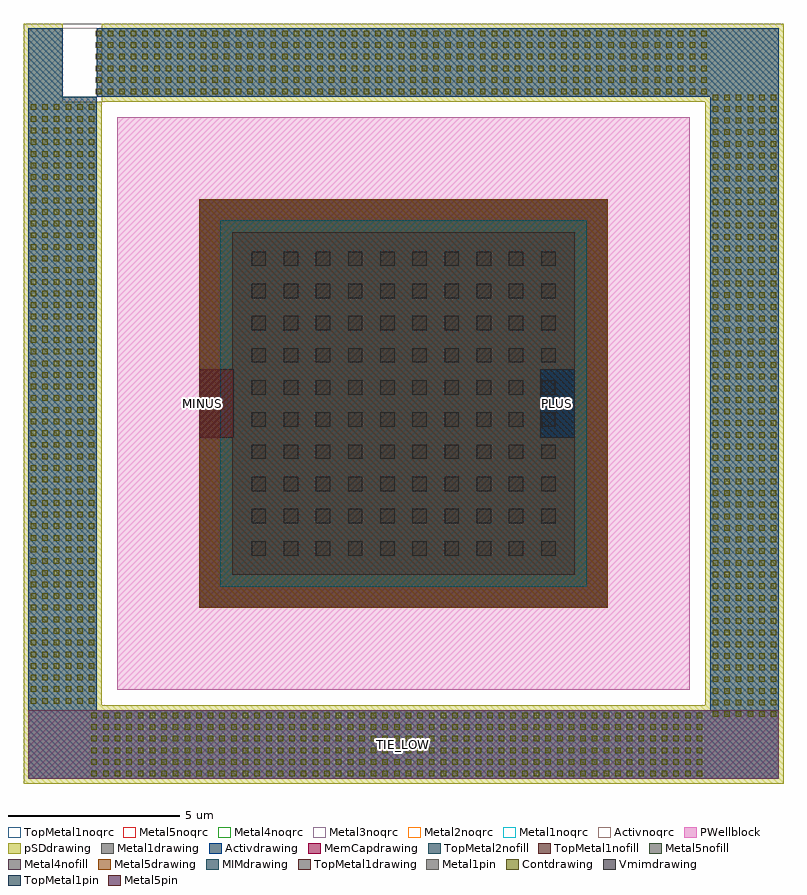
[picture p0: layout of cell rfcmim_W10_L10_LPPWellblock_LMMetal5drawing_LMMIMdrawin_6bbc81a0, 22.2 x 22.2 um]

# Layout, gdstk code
from math import pi, radians
import gdstk
lib = gdstk.Library(unit=1e-6, precision=1e-09)
def R(c, l, rs):  # rectangles x0, y0, x1, y1
    for r in rs: c.add(gdstk.rectangle(r[:2], r[2:], *l))
def P(c, l, *ps):  # polygons
    for p in ps: c.add(gdstk.Polygon(p, *l))
Activdrawing = (1, 0)
Activnoqrc = (1, 28)
Contdrawing = (6, 0)
Metal1drawing = (8, 0)
Metal1pin = (8, 2)
Metal1noqrc = (8, 28)
Metal2noqrc = (10, 28)
pSDdrawing = (14, 0)
Metal3noqrc = (30, 28)
MIMdrawing = (36, 0)
PWellblock = (46, 21)
Metal4nofill = (50, 23)
Metal4noqrc = (50, 28)
Metal5drawing = (67, 0)
Metal5pin = (67, 2)
Metal5nofill = (67, 23)
Metal5noqrc = (67, 28)
MemCapdrawing = (69, 0)
TopMetal1drawing = (126, 0)
TopMetal1pin = (126, 2)
TopMetal1nofill = (126, 23)
TopMetal1noqrc = (126, 28)
Vmimdrawing = (129, 0)
TopMetal2nofill = (134, 23)

rectangle_gdsfactorypcom = lib.new_cell('rectangle_gdsfactorypcomponentspshapesprectangle_S21p91_7ff23215')
R(rectangle_gdsfactorypcom, Metal1pin, [(-10.96,-1,10.96,1)])

c_rectangle_gdsfactorypcom = lib.new_cell('rectangle_gdsfactorypcomponentspshapesprectangle_S22p2__de31a85f')
R(c_rectangle_gdsfactorypcom, TopMetal1noqrc, [(-11.1,-11.1,11.1,11.1)])

c_rectangle_gdsfactorypcom_ = lib.new_cell('rectangle_gdsfactorypcomponentspshapesprectangle_S22p2__a230f30a')
R(c_rectangle_gdsfactorypcom_, Metal5noqrc, [(-11.1,-11.1,11.1,11.1)])

c_rectangle_gdsfactorypcom__ = lib.new_cell('rectangle_gdsfactorypcomponentspshapesprectangle_S22p2__22833e57')
R(c_rectangle_gdsfactorypcom__, Metal4noqrc, [(-11.1,-11.1,11.1,11.1)])

c_rectangle_gdsfactorypcom___ = lib.new_cell('rectangle_gdsfactorypcomponentspshapesprectangle_S22p2__882c3cef')
R(c_rectangle_gdsfactorypcom___, Metal3noqrc, [(-11.1,-11.1,11.1,11.1)])

c_rectangle_gdsfactorypcom____ = lib.new_cell('rectangle_gdsfactorypcomponentspshapesprectangle_S22p2__4a0da761')
R(c_rectangle_gdsfactorypcom____, Metal2noqrc, [(-11.1,-11.1,11.1,11.1)])

c_rectangle_gdsfactorypcom_____ = lib.new_cell('rectangle_gdsfactorypcomponentspshapesprectangle_S22p2__9c41a0f0')
R(c_rectangle_gdsfactorypcom_____, Metal1noqrc, [(-11.1,-11.1,11.1,11.1)])

c_rectangle_gdsfactorypcom______ = lib.new_cell('rectangle_gdsfactorypcomponentspshapesprectangle_S22p2__efff99eb')
R(c_rectangle_gdsfactorypcom______, Activnoqrc, [(-11.1,-11.1,11.1,11.1)])

c_rectangle_gdsfactorypcom_______ = lib.new_cell('rectangle_gdsfactorypcomponentspshapesprectangle_S0p16__bf15bdcd')
R(c_rectangle_gdsfactorypcom_______, Contdrawing, [(0,0,0.16,0.16)])

via_array_vtcont_c1_r6_v = lib.new_cell('via_array_VTCont_C1_R6_VS0p16_VS0p33999999999999997_VE0_973e9d7a')
via_array_vtcont_c1_r6_v.add(gdstk.Reference(c_rectangle_gdsfactorypcom_______, (0,0)))
via_array_vtcont_c1_r6_v.add(gdstk.Reference(c_rectangle_gdsfactorypcom_______, (0,0.34)))
via_array_vtcont_c1_r6_v.add(gdstk.Reference(c_rectangle_gdsfactorypcom_______, (0,0.68)))
via_array_vtcont_c1_r6_v.add(gdstk.Reference(c_rectangle_gdsfactorypcom_______, (0,1.02)))
via_array_vtcont_c1_r6_v.add(gdstk.Reference(c_rectangle_gdsfactorypcom_______, (0,1.36)))
via_array_vtcont_c1_r6_v.add(gdstk.Reference(c_rectangle_gdsfactorypcom_______, (0,1.7)))

unnamed_34 = lib.new_cell('Unnamed_34')
unnamed_34.add(gdstk.Reference(via_array_vtcont_c1_r6_v, (-8.955,-9.03), rotation=pi))
unnamed_34.add(gdstk.Reference(via_array_vtcont_c1_r6_v, (-8.615,-9.03), rotation=pi))
unnamed_34.add(gdstk.Reference(via_array_vtcont_c1_r6_v, (-8.275,-9.03), rotation=pi))
unnamed_34.add(gdstk.Reference(via_array_vtcont_c1_r6_v, (-7.935,-9.03), rotation=pi))
unnamed_34.add(gdstk.Reference(via_array_vtcont_c1_r6_v, (-7.595,-9.03), rotation=pi))
unnamed_34.add(gdstk.Reference(via_array_vtcont_c1_r6_v, (-7.255,-9.03), rotation=pi))
unnamed_34.add(gdstk.Reference(via_array_vtcont_c1_r6_v, (-6.915,-9.03), rotation=pi))
unnamed_34.add(gdstk.Reference(via_array_vtcont_c1_r6_v, (-6.575,-9.03), rotation=pi))
unnamed_34.add(gdstk.Reference(via_array_vtcont_c1_r6_v, (-6.235,-9.03), rotation=pi))
unnamed_34.add(gdstk.Reference(via_array_vtcont_c1_r6_v, (-5.895,-9.03), rotation=pi))
unnamed_34.add(gdstk.Reference(via_array_vtcont_c1_r6_v, (-5.555,-9.03), rotation=pi))
unnamed_34.add(gdstk.Reference(via_array_vtcont_c1_r6_v, (-5.215,-9.03), rotation=pi))
unnamed_34.add(gdstk.Reference(via_array_vtcont_c1_r6_v, (-4.875,-9.03), rotation=pi))
unnamed_34.add(gdstk.Reference(via_array_vtcont_c1_r6_v, (-4.535,-9.03), rotation=pi))
unnamed_34.add(gdstk.Reference(via_array_vtcont_c1_r6_v, (-4.195,-9.03), rotation=pi))
unnamed_34.add(gdstk.Reference(via_array_vtcont_c1_r6_v, (-3.855,-9.03), rotation=pi))
unnamed_34.add(gdstk.Reference(via_array_vtcont_c1_r6_v, (-3.515,-9.03), rotation=pi))
unnamed_34.add(gdstk.Reference(via_array_vtcont_c1_r6_v, (-3.175,-9.03), rotation=pi))
unnamed_34.add(gdstk.Reference(via_array_vtcont_c1_r6_v, (-2.835,-9.03), rotation=pi))
unnamed_34.add(gdstk.Reference(via_array_vtcont_c1_r6_v, (-2.495,-9.03), rotation=pi))
unnamed_34.add(gdstk.Reference(via_array_vtcont_c1_r6_v, (-2.155,-9.03), rotation=pi))
unnamed_34.add(gdstk.Reference(via_array_vtcont_c1_r6_v, (-1.815,-9.03), rotation=pi))
unnamed_34.add(gdstk.Reference(via_array_vtcont_c1_r6_v, (-1.475,-9.03), rotation=pi))
unnamed_34.add(gdstk.Reference(via_array_vtcont_c1_r6_v, (-1.135,-9.03), rotation=pi))
unnamed_34.add(gdstk.Reference(via_array_vtcont_c1_r6_v, (-0.795,-9.03), rotation=pi))
unnamed_34.add(gdstk.Reference(via_array_vtcont_c1_r6_v, (-0.455,-9.03), rotation=pi))
unnamed_34.add(gdstk.Reference(via_array_vtcont_c1_r6_v, (-0.115,-9.03), rotation=pi))
unnamed_34.add(gdstk.Reference(via_array_vtcont_c1_r6_v, (0.225,-9.03), rotation=pi))
unnamed_34.add(gdstk.Reference(via_array_vtcont_c1_r6_v, (0.565,-9.03), rotation=pi))
unnamed_34.add(gdstk.Reference(via_array_vtcont_c1_r6_v, (0.905,-9.03), rotation=pi))
unnamed_34.add(gdstk.Reference(via_array_vtcont_c1_r6_v, (1.245,-9.03), rotation=pi))
unnamed_34.add(gdstk.Reference(via_array_vtcont_c1_r6_v, (1.585,-9.03), rotation=pi))
unnamed_34.add(gdstk.Reference(via_array_vtcont_c1_r6_v, (1.925,-9.03), rotation=pi))
unnamed_34.add(gdstk.Reference(via_array_vtcont_c1_r6_v, (2.265,-9.03), rotation=pi))
unnamed_34.add(gdstk.Reference(via_array_vtcont_c1_r6_v, (2.605,-9.03), rotation=pi))
unnamed_34.add(gdstk.Reference(via_array_vtcont_c1_r6_v, (2.945,-9.03), rotation=pi))
unnamed_34.add(gdstk.Reference(via_array_vtcont_c1_r6_v, (3.285,-9.03), rotation=pi))
unnamed_34.add(gdstk.Reference(via_array_vtcont_c1_r6_v, (3.625,-9.03), rotation=pi))
unnamed_34.add(gdstk.Reference(via_array_vtcont_c1_r6_v, (3.965,-9.03), rotation=pi))
unnamed_34.add(gdstk.Reference(via_array_vtcont_c1_r6_v, (4.305,-9.03), rotation=pi))
unnamed_34.add(gdstk.Reference(via_array_vtcont_c1_r6_v, (4.645,-9.03), rotation=pi))
unnamed_34.add(gdstk.Reference(via_array_vtcont_c1_r6_v, (4.985,-9.03), rotation=pi))
unnamed_34.add(gdstk.Reference(via_array_vtcont_c1_r6_v, (5.325,-9.03), rotation=pi))
unnamed_34.add(gdstk.Reference(via_array_vtcont_c1_r6_v, (5.665,-9.03), rotation=pi))
unnamed_34.add(gdstk.Reference(via_array_vtcont_c1_r6_v, (6.005,-9.03), rotation=pi))
unnamed_34.add(gdstk.Reference(via_array_vtcont_c1_r6_v, (6.345,-9.03), rotation=pi))
unnamed_34.add(gdstk.Reference(via_array_vtcont_c1_r6_v, (6.685,-9.03), rotation=pi))
unnamed_34.add(gdstk.Reference(via_array_vtcont_c1_r6_v, (7.025,-9.03), rotation=pi))
unnamed_34.add(gdstk.Reference(via_array_vtcont_c1_r6_v, (7.365,-9.03), rotation=pi))
unnamed_34.add(gdstk.Reference(via_array_vtcont_c1_r6_v, (7.705,-9.03), rotation=pi))
unnamed_34.add(gdstk.Reference(via_array_vtcont_c1_r6_v, (8.045,-9.03), rotation=pi))
unnamed_34.add(gdstk.Reference(via_array_vtcont_c1_r6_v, (8.385,-9.03), rotation=pi))
unnamed_34.add(gdstk.Reference(via_array_vtcont_c1_r6_v, (8.725,-9.03), rotation=pi))
unnamed_34.add(gdstk.Reference(via_array_vtcont_c1_r6_v, (-9.03,-8.765), rotation=pi/2))
unnamed_34.add(gdstk.Reference(via_array_vtcont_c1_r6_v, (-9.03,-8.425), rotation=pi/2))
unnamed_34.add(gdstk.Reference(via_array_vtcont_c1_r6_v, (-9.03,-8.085), rotation=pi/2))
unnamed_34.add(gdstk.Reference(via_array_vtcont_c1_r6_v, (-9.03,-7.745), rotation=pi/2))
unnamed_34.add(gdstk.Reference(via_array_vtcont_c1_r6_v, (-9.03,-7.405), rotation=pi/2))
unnamed_34.add(gdstk.Reference(via_array_vtcont_c1_r6_v, (-9.03,-7.065), rotation=pi/2))
unnamed_34.add(gdstk.Reference(via_array_vtcont_c1_r6_v, (-9.03,-6.725), rotation=pi/2))
unnamed_34.add(gdstk.Reference(via_array_vtcont_c1_r6_v, (-9.03,-6.385), rotation=pi/2))
unnamed_34.add(gdstk.Reference(via_array_vtcont_c1_r6_v, (-9.03,-6.045), rotation=pi/2))
unnamed_34.add(gdstk.Reference(via_array_vtcont_c1_r6_v, (-9.03,-5.705), rotation=pi/2))
unnamed_34.add(gdstk.Reference(via_array_vtcont_c1_r6_v, (-9.03,-5.365), rotation=pi/2))
unnamed_34.add(gdstk.Reference(via_array_vtcont_c1_r6_v, (-9.03,-5.025), rotation=pi/2))
unnamed_34.add(gdstk.Reference(via_array_vtcont_c1_r6_v, (-9.03,-4.685), rotation=pi/2))
unnamed_34.add(gdstk.Reference(via_array_vtcont_c1_r6_v, (-9.03,-4.345), rotation=pi/2))
unnamed_34.add(gdstk.Reference(via_array_vtcont_c1_r6_v, (-9.03,-4.005), rotation=pi/2))
unnamed_34.add(gdstk.Reference(via_array_vtcont_c1_r6_v, (-9.03,-3.665), rotation=pi/2))
unnamed_34.add(gdstk.Reference(via_array_vtcont_c1_r6_v, (-9.03,-3.325), rotation=pi/2))
unnamed_34.add(gdstk.Reference(via_array_vtcont_c1_r6_v, (-9.03,-2.985), rotation=pi/2))
unnamed_34.add(gdstk.Reference(via_array_vtcont_c1_r6_v, (-9.03,-2.645), rotation=pi/2))
unnamed_34.add(gdstk.Reference(via_array_vtcont_c1_r6_v, (-9.03,-2.305), rotation=pi/2))
unnamed_34.add(gdstk.Reference(via_array_vtcont_c1_r6_v, (-9.03,-1.965), rotation=pi/2))
unnamed_34.add(gdstk.Reference(via_array_vtcont_c1_r6_v, (-9.03,-1.625), rotation=pi/2))
unnamed_34.add(gdstk.Reference(via_array_vtcont_c1_r6_v, (-9.03,-1.285), rotation=pi/2))
unnamed_34.add(gdstk.Reference(via_array_vtcont_c1_r6_v, (-9.03,-0.945), rotation=pi/2))
unnamed_34.add(gdstk.Reference(via_array_vtcont_c1_r6_v, (-9.03,-0.605), rotation=pi/2))
unnamed_34.add(gdstk.Reference(via_array_vtcont_c1_r6_v, (-9.03,-0.265), rotation=pi/2))
unnamed_34.add(gdstk.Reference(via_array_vtcont_c1_r6_v, (-9.03,0.075), rotation=pi/2))
unnamed_34.add(gdstk.Reference(via_array_vtcont_c1_r6_v, (-9.03,0.415), rotation=pi/2))
unnamed_34.add(gdstk.Reference(via_array_vtcont_c1_r6_v, (-9.03,0.755), rotation=pi/2))
unnamed_34.add(gdstk.Reference(via_array_vtcont_c1_r6_v, (-9.03,1.095), rotation=pi/2))
unnamed_34.add(gdstk.Reference(via_array_vtcont_c1_r6_v, (-9.03,1.435), rotation=pi/2))
unnamed_34.add(gdstk.Reference(via_array_vtcont_c1_r6_v, (-9.03,1.775), rotation=pi/2))
unnamed_34.add(gdstk.Reference(via_array_vtcont_c1_r6_v, (-9.03,2.115), rotation=pi/2))
unnamed_34.add(gdstk.Reference(via_array_vtcont_c1_r6_v, (-9.03,2.455), rotation=pi/2))
unnamed_34.add(gdstk.Reference(via_array_vtcont_c1_r6_v, (-9.03,2.795), rotation=pi/2))
unnamed_34.add(gdstk.Reference(via_array_vtcont_c1_r6_v, (-9.03,3.135), rotation=pi/2))
unnamed_34.add(gdstk.Reference(via_array_vtcont_c1_r6_v, (-9.03,3.475), rotation=pi/2))
unnamed_34.add(gdstk.Reference(via_array_vtcont_c1_r6_v, (-9.03,3.815), rotation=pi/2))
unnamed_34.add(gdstk.Reference(via_array_vtcont_c1_r6_v, (-9.03,4.155), rotation=pi/2))
unnamed_34.add(gdstk.Reference(via_array_vtcont_c1_r6_v, (-9.03,4.495), rotation=pi/2))
unnamed_34.add(gdstk.Reference(via_array_vtcont_c1_r6_v, (-9.03,4.835), rotation=pi/2))
unnamed_34.add(gdstk.Reference(via_array_vtcont_c1_r6_v, (-9.03,5.175), rotation=pi/2))
unnamed_34.add(gdstk.Reference(via_array_vtcont_c1_r6_v, (-9.03,5.515), rotation=pi/2))
unnamed_34.add(gdstk.Reference(via_array_vtcont_c1_r6_v, (-9.03,5.855), rotation=pi/2))
unnamed_34.add(gdstk.Reference(via_array_vtcont_c1_r6_v, (-9.03,6.195), rotation=pi/2))
unnamed_34.add(gdstk.Reference(via_array_vtcont_c1_r6_v, (-9.03,6.535), rotation=pi/2))
unnamed_34.add(gdstk.Reference(via_array_vtcont_c1_r6_v, (-9.03,6.875), rotation=pi/2))
unnamed_34.add(gdstk.Reference(via_array_vtcont_c1_r6_v, (-9.03,7.215), rotation=pi/2))
unnamed_34.add(gdstk.Reference(via_array_vtcont_c1_r6_v, (-9.03,7.555), rotation=pi/2))
unnamed_34.add(gdstk.Reference(via_array_vtcont_c1_r6_v, (-9.03,7.895), rotation=pi/2))
unnamed_34.add(gdstk.Reference(via_array_vtcont_c1_r6_v, (-9.03,8.235), rotation=pi/2))
unnamed_34.add(gdstk.Reference(via_array_vtcont_c1_r6_v, (-9.03,8.575), rotation=pi/2))
unnamed_34.add(gdstk.Reference(via_array_vtcont_c1_r6_v, (9.03,-8.995), rotation=3*pi/2))
unnamed_34.add(gdstk.Reference(via_array_vtcont_c1_r6_v, (9.03,-8.655), rotation=3*pi/2))
unnamed_34.add(gdstk.Reference(via_array_vtcont_c1_r6_v, (9.03,-8.315), rotation=3*pi/2))
unnamed_34.add(gdstk.Reference(via_array_vtcont_c1_r6_v, (9.03,-7.975), rotation=3*pi/2))
unnamed_34.add(gdstk.Reference(via_array_vtcont_c1_r6_v, (9.03,-7.635), rotation=3*pi/2))
unnamed_34.add(gdstk.Reference(via_array_vtcont_c1_r6_v, (9.03,-7.295), rotation=3*pi/2))
unnamed_34.add(gdstk.Reference(via_array_vtcont_c1_r6_v, (9.03,-6.955), rotation=3*pi/2))
unnamed_34.add(gdstk.Reference(via_array_vtcont_c1_r6_v, (9.03,-6.615), rotation=3*pi/2))
unnamed_34.add(gdstk.Reference(via_array_vtcont_c1_r6_v, (9.03,-6.275), rotation=3*pi/2))
unnamed_34.add(gdstk.Reference(via_array_vtcont_c1_r6_v, (9.03,-5.935), rotation=3*pi/2))
unnamed_34.add(gdstk.Reference(via_array_vtcont_c1_r6_v, (9.03,-5.595), rotation=3*pi/2))
unnamed_34.add(gdstk.Reference(via_array_vtcont_c1_r6_v, (9.03,-5.255), rotation=3*pi/2))
unnamed_34.add(gdstk.Reference(via_array_vtcont_c1_r6_v, (9.03,-4.915), rotation=3*pi/2))
unnamed_34.add(gdstk.Reference(via_array_vtcont_c1_r6_v, (9.03,-4.575), rotation=3*pi/2))
unnamed_34.add(gdstk.Reference(via_array_vtcont_c1_r6_v, (9.03,-4.235), rotation=3*pi/2))
unnamed_34.add(gdstk.Reference(via_array_vtcont_c1_r6_v, (9.03,-3.895), rotation=3*pi/2))
unnamed_34.add(gdstk.Reference(via_array_vtcont_c1_r6_v, (9.03,-3.555), rotation=3*pi/2))
unnamed_34.add(gdstk.Reference(via_array_vtcont_c1_r6_v, (9.03,-3.215), rotation=3*pi/2))
unnamed_34.add(gdstk.Reference(via_array_vtcont_c1_r6_v, (9.03,-2.875), rotation=3*pi/2))
unnamed_34.add(gdstk.Reference(via_array_vtcont_c1_r6_v, (9.03,-2.535), rotation=3*pi/2))
unnamed_34.add(gdstk.Reference(via_array_vtcont_c1_r6_v, (9.03,-2.195), rotation=3*pi/2))
unnamed_34.add(gdstk.Reference(via_array_vtcont_c1_r6_v, (9.03,-1.855), rotation=3*pi/2))
unnamed_34.add(gdstk.Reference(via_array_vtcont_c1_r6_v, (9.03,-1.515), rotation=3*pi/2))
unnamed_34.add(gdstk.Reference(via_array_vtcont_c1_r6_v, (9.03,-1.175), rotation=3*pi/2))
unnamed_34.add(gdstk.Reference(via_array_vtcont_c1_r6_v, (9.03,-0.835), rotation=3*pi/2))
unnamed_34.add(gdstk.Reference(via_array_vtcont_c1_r6_v, (9.03,-0.495), rotation=3*pi/2))
unnamed_34.add(gdstk.Reference(via_array_vtcont_c1_r6_v, (9.03,-0.155), rotation=3*pi/2))
unnamed_34.add(gdstk.Reference(via_array_vtcont_c1_r6_v, (9.03,0.185), rotation=3*pi/2))
unnamed_34.add(gdstk.Reference(via_array_vtcont_c1_r6_v, (9.03,0.525), rotation=3*pi/2))
unnamed_34.add(gdstk.Reference(via_array_vtcont_c1_r6_v, (9.03,0.865), rotation=3*pi/2))
unnamed_34.add(gdstk.Reference(via_array_vtcont_c1_r6_v, (9.03,1.205), rotation=3*pi/2))
unnamed_34.add(gdstk.Reference(via_array_vtcont_c1_r6_v, (9.03,1.545), rotation=3*pi/2))
unnamed_34.add(gdstk.Reference(via_array_vtcont_c1_r6_v, (9.03,1.885), rotation=3*pi/2))
unnamed_34.add(gdstk.Reference(via_array_vtcont_c1_r6_v, (9.03,2.225), rotation=3*pi/2))
unnamed_34.add(gdstk.Reference(via_array_vtcont_c1_r6_v, (9.03,2.565), rotation=3*pi/2))
unnamed_34.add(gdstk.Reference(via_array_vtcont_c1_r6_v, (9.03,2.905), rotation=3*pi/2))
unnamed_34.add(gdstk.Reference(via_array_vtcont_c1_r6_v, (9.03,3.245), rotation=3*pi/2))
unnamed_34.add(gdstk.Reference(via_array_vtcont_c1_r6_v, (9.03,3.585), rotation=3*pi/2))
unnamed_34.add(gdstk.Reference(via_array_vtcont_c1_r6_v, (9.03,3.925), rotation=3*pi/2))
unnamed_34.add(gdstk.Reference(via_array_vtcont_c1_r6_v, (9.03,4.265), rotation=3*pi/2))
unnamed_34.add(gdstk.Reference(via_array_vtcont_c1_r6_v, (9.03,4.605), rotation=3*pi/2))
unnamed_34.add(gdstk.Reference(via_array_vtcont_c1_r6_v, (9.03,4.945), rotation=3*pi/2))
unnamed_34.add(gdstk.Reference(via_array_vtcont_c1_r6_v, (9.03,5.285), rotation=3*pi/2))
unnamed_34.add(gdstk.Reference(via_array_vtcont_c1_r6_v, (9.03,5.625), rotation=3*pi/2))
unnamed_34.add(gdstk.Reference(via_array_vtcont_c1_r6_v, (9.03,5.965), rotation=3*pi/2))
unnamed_34.add(gdstk.Reference(via_array_vtcont_c1_r6_v, (9.03,6.305), rotation=3*pi/2))
unnamed_34.add(gdstk.Reference(via_array_vtcont_c1_r6_v, (9.03,6.645), rotation=3*pi/2))
unnamed_34.add(gdstk.Reference(via_array_vtcont_c1_r6_v, (9.03,6.985), rotation=3*pi/2))
unnamed_34.add(gdstk.Reference(via_array_vtcont_c1_r6_v, (9.03,7.325), rotation=3*pi/2))
unnamed_34.add(gdstk.Reference(via_array_vtcont_c1_r6_v, (9.03,7.665), rotation=3*pi/2))
unnamed_34.add(gdstk.Reference(via_array_vtcont_c1_r6_v, (9.03,8.005), rotation=3*pi/2))
unnamed_34.add(gdstk.Reference(via_array_vtcont_c1_r6_v, (9.03,8.345), rotation=3*pi/2))
unnamed_34.add(gdstk.Reference(via_array_vtcont_c1_r6_v, (9.03,8.685), rotation=3*pi/2))
unnamed_34.add(gdstk.Reference(via_array_vtcont_c1_r6_v, (9.03,9.025), rotation=3*pi/2))
unnamed_34.add(gdstk.Reference(via_array_vtcont_c1_r6_v, (-8.985,9.03)))
unnamed_34.add(gdstk.Reference(via_array_vtcont_c1_r6_v, (-8.645,9.03)))
unnamed_34.add(gdstk.Reference(via_array_vtcont_c1_r6_v, (-8.305,9.03)))
unnamed_34.add(gdstk.Reference(via_array_vtcont_c1_r6_v, (-7.965,9.03)))
unnamed_34.add(gdstk.Reference(via_array_vtcont_c1_r6_v, (-7.625,9.03)))
unnamed_34.add(gdstk.Reference(via_array_vtcont_c1_r6_v, (-7.285,9.03)))
unnamed_34.add(gdstk.Reference(via_array_vtcont_c1_r6_v, (-6.945,9.03)))
unnamed_34.add(gdstk.Reference(via_array_vtcont_c1_r6_v, (-6.605,9.03)))
unnamed_34.add(gdstk.Reference(via_array_vtcont_c1_r6_v, (-6.265,9.03)))
unnamed_34.add(gdstk.Reference(via_array_vtcont_c1_r6_v, (-5.925,9.03)))
unnamed_34.add(gdstk.Reference(via_array_vtcont_c1_r6_v, (-5.585,9.03)))
unnamed_34.add(gdstk.Reference(via_array_vtcont_c1_r6_v, (-5.245,9.03)))
unnamed_34.add(gdstk.Reference(via_array_vtcont_c1_r6_v, (-4.905,9.03)))
unnamed_34.add(gdstk.Reference(via_array_vtcont_c1_r6_v, (-4.565,9.03)))
unnamed_34.add(gdstk.Reference(via_array_vtcont_c1_r6_v, (-4.225,9.03)))
unnamed_34.add(gdstk.Reference(via_array_vtcont_c1_r6_v, (-3.885,9.03)))
unnamed_34.add(gdstk.Reference(via_array_vtcont_c1_r6_v, (-3.545,9.03)))
unnamed_34.add(gdstk.Reference(via_array_vtcont_c1_r6_v, (-3.205,9.03)))
unnamed_34.add(gdstk.Reference(via_array_vtcont_c1_r6_v, (-2.865,9.03)))
unnamed_34.add(gdstk.Reference(via_array_vtcont_c1_r6_v, (-2.525,9.03)))
unnamed_34.add(gdstk.Reference(via_array_vtcont_c1_r6_v, (-2.185,9.03)))
unnamed_34.add(gdstk.Reference(via_array_vtcont_c1_r6_v, (-1.845,9.03)))
unnamed_34.add(gdstk.Reference(via_array_vtcont_c1_r6_v, (-1.505,9.03)))
unnamed_34.add(gdstk.Reference(via_array_vtcont_c1_r6_v, (-1.165,9.03)))
unnamed_34.add(gdstk.Reference(via_array_vtcont_c1_r6_v, (-0.825,9.03)))
unnamed_34.add(gdstk.Reference(via_array_vtcont_c1_r6_v, (-0.485,9.03)))
unnamed_34.add(gdstk.Reference(via_array_vtcont_c1_r6_v, (-0.145,9.03)))
unnamed_34.add(gdstk.Reference(via_array_vtcont_c1_r6_v, (0.195,9.03)))
unnamed_34.add(gdstk.Reference(via_array_vtcont_c1_r6_v, (0.535,9.03)))
unnamed_34.add(gdstk.Reference(via_array_vtcont_c1_r6_v, (0.875,9.03)))
unnamed_34.add(gdstk.Reference(via_array_vtcont_c1_r6_v, (1.215,9.03)))
unnamed_34.add(gdstk.Reference(via_array_vtcont_c1_r6_v, (1.555,9.03)))
unnamed_34.add(gdstk.Reference(via_array_vtcont_c1_r6_v, (1.895,9.03)))
unnamed_34.add(gdstk.Reference(via_array_vtcont_c1_r6_v, (2.235,9.03)))
unnamed_34.add(gdstk.Reference(via_array_vtcont_c1_r6_v, (2.575,9.03)))
unnamed_34.add(gdstk.Reference(via_array_vtcont_c1_r6_v, (2.915,9.03)))
unnamed_34.add(gdstk.Reference(via_array_vtcont_c1_r6_v, (3.255,9.03)))
unnamed_34.add(gdstk.Reference(via_array_vtcont_c1_r6_v, (3.595,9.03)))
unnamed_34.add(gdstk.Reference(via_array_vtcont_c1_r6_v, (3.935,9.03)))
unnamed_34.add(gdstk.Reference(via_array_vtcont_c1_r6_v, (4.275,9.03)))
unnamed_34.add(gdstk.Reference(via_array_vtcont_c1_r6_v, (4.615,9.03)))
unnamed_34.add(gdstk.Reference(via_array_vtcont_c1_r6_v, (4.955,9.03)))
unnamed_34.add(gdstk.Reference(via_array_vtcont_c1_r6_v, (5.295,9.03)))
unnamed_34.add(gdstk.Reference(via_array_vtcont_c1_r6_v, (5.635,9.03)))
unnamed_34.add(gdstk.Reference(via_array_vtcont_c1_r6_v, (5.975,9.03)))
unnamed_34.add(gdstk.Reference(via_array_vtcont_c1_r6_v, (6.315,9.03)))
unnamed_34.add(gdstk.Reference(via_array_vtcont_c1_r6_v, (6.655,9.03)))
unnamed_34.add(gdstk.Reference(via_array_vtcont_c1_r6_v, (6.995,9.03)))
unnamed_34.add(gdstk.Reference(via_array_vtcont_c1_r6_v, (7.335,9.03)))
unnamed_34.add(gdstk.Reference(via_array_vtcont_c1_r6_v, (7.675,9.03)))
unnamed_34.add(gdstk.Reference(via_array_vtcont_c1_r6_v, (8.015,9.03)))
unnamed_34.add(gdstk.Reference(via_array_vtcont_c1_r6_v, (8.355,9.03)))
unnamed_34.add(gdstk.Reference(via_array_vtcont_c1_r6_v, (8.695,9.03)))

unnamed_30 = lib.new_cell('Unnamed_30')
P(unnamed_30, pSDdrawing, [(-11.1,-11.1),(-11.1,11.1),(-8.82,11.1),(-8.82,-8.82),(8.82,-8.82),(8.82,8.82),(-9.96,8.82),(-9.96,11.1),(11.1,11.1),(11.1,-11.1)])

unnamed_29 = lib.new_cell('Unnamed_29')
P(unnamed_29, Metal1drawing, [(-10.96,-10.96),(-10.96,10.96),(-8.96,10.96),(-8.96,-8.96),(8.96,-8.96),(8.96,8.96),(-9.96,8.96),(-9.96,10.96),(10.96,10.96),(10.96,-10.96)])

unnamed_28 = lib.new_cell('Unnamed_28')
P(unnamed_28, Activdrawing, [(-10.96,-10.96),(-10.96,10.96),(-8.96,10.96),(-8.96,-8.96),(8.96,-8.96),(8.96,8.96),(-9.96,8.96),(-9.96,10.96),(10.96,10.96),(10.96,-10.96)])

guard_ring_w2_g0p6_gpsub = lib.new_cell('guard_ring_W2_G0p6_Gpsub_Bm8p36_m8p36_8p36_8p36_PNone_L_c9c84dca')
guard_ring_w2_g0p6_gpsub.add(gdstk.Reference(unnamed_34, (0,0)))
guard_ring_w2_g0p6_gpsub.add(gdstk.Reference(unnamed_30, (0,0)))
guard_ring_w2_g0p6_gpsub.add(gdstk.Reference(unnamed_29, (0,0)))
guard_ring_w2_g0p6_gpsub.add(gdstk.Reference(unnamed_28, (0,0)))

c_rectangle_gdsfactorypcom________ = lib.new_cell('rectangle_gdsfactorypcomponentspshapesprectangle_S16p72_72592141')
R(c_rectangle_gdsfactorypcom________, PWellblock, [(-8.36,-8.36,8.36,8.36)])

c_rectangle_gdsfactorypcom_________ = lib.new_cell('rectangle_gdsfactorypcomponentspshapesprectangle_S1_2_L_21edbbcb')
R(c_rectangle_gdsfactorypcom_________, TopMetal1pin, [(-0.5,-1,0.5,1)])

c_rectangle_gdsfactorypcom__________ = lib.new_cell('rectangle_gdsfactorypcomponentspshapesprectangle_S1_2_L_313130ad')
R(c_rectangle_gdsfactorypcom__________, Metal5pin, [(-0.5,-1,0.5,1)])

c_rectangle_gdsfactorypcom___________ = lib.new_cell('rectangle_gdsfactorypcomponentspshapesprectangle_S0p42__b20b6c6c')
R(c_rectangle_gdsfactorypcom___________, Vmimdrawing, [(0,0,0.42,0.42)])

via_array_vtvmim_c10_r10 = lib.new_cell('via_array_VTVmim_C10_R10_VS0p42_VS0p94_VE0p42_LCContdra_14498da7')
via_array_vtvmim_c10_r10.add(gdstk.Reference(c_rectangle_gdsfactorypcom___________, (0,0)))
via_array_vtvmim_c10_r10.add(gdstk.Reference(c_rectangle_gdsfactorypcom___________, (0.94,0)))
via_array_vtvmim_c10_r10.add(gdstk.Reference(c_rectangle_gdsfactorypcom___________, (1.88,0)))
via_array_vtvmim_c10_r10.add(gdstk.Reference(c_rectangle_gdsfactorypcom___________, (2.82,0)))
via_array_vtvmim_c10_r10.add(gdstk.Reference(c_rectangle_gdsfactorypcom___________, (3.76,0)))
via_array_vtvmim_c10_r10.add(gdstk.Reference(c_rectangle_gdsfactorypcom___________, (4.7,0)))
via_array_vtvmim_c10_r10.add(gdstk.Reference(c_rectangle_gdsfactorypcom___________, (5.64,0)))
via_array_vtvmim_c10_r10.add(gdstk.Reference(c_rectangle_gdsfactorypcom___________, (6.58,0)))
via_array_vtvmim_c10_r10.add(gdstk.Reference(c_rectangle_gdsfactorypcom___________, (7.52,0)))
via_array_vtvmim_c10_r10.add(gdstk.Reference(c_rectangle_gdsfactorypcom___________, (8.46,0)))
via_array_vtvmim_c10_r10.add(gdstk.Reference(c_rectangle_gdsfactorypcom___________, (0,0.94)))
via_array_vtvmim_c10_r10.add(gdstk.Reference(c_rectangle_gdsfactorypcom___________, (0.94,0.94)))
via_array_vtvmim_c10_r10.add(gdstk.Reference(c_rectangle_gdsfactorypcom___________, (1.88,0.94)))
via_array_vtvmim_c10_r10.add(gdstk.Reference(c_rectangle_gdsfactorypcom___________, (2.82,0.94)))
via_array_vtvmim_c10_r10.add(gdstk.Reference(c_rectangle_gdsfactorypcom___________, (3.76,0.94)))
via_array_vtvmim_c10_r10.add(gdstk.Reference(c_rectangle_gdsfactorypcom___________, (4.7,0.94)))
via_array_vtvmim_c10_r10.add(gdstk.Reference(c_rectangle_gdsfactorypcom___________, (5.64,0.94)))
via_array_vtvmim_c10_r10.add(gdstk.Reference(c_rectangle_gdsfactorypcom___________, (6.58,0.94)))
via_array_vtvmim_c10_r10.add(gdstk.Reference(c_rectangle_gdsfactorypcom___________, (7.52,0.94)))
via_array_vtvmim_c10_r10.add(gdstk.Reference(c_rectangle_gdsfactorypcom___________, (8.46,0.94)))
via_array_vtvmim_c10_r10.add(gdstk.Reference(c_rectangle_gdsfactorypcom___________, (0,1.88)))
via_array_vtvmim_c10_r10.add(gdstk.Reference(c_rectangle_gdsfactorypcom___________, (0.94,1.88)))
via_array_vtvmim_c10_r10.add(gdstk.Reference(c_rectangle_gdsfactorypcom___________, (1.88,1.88)))
via_array_vtvmim_c10_r10.add(gdstk.Reference(c_rectangle_gdsfactorypcom___________, (2.82,1.88)))
via_array_vtvmim_c10_r10.add(gdstk.Reference(c_rectangle_gdsfactorypcom___________, (3.76,1.88)))
via_array_vtvmim_c10_r10.add(gdstk.Reference(c_rectangle_gdsfactorypcom___________, (4.7,1.88)))
via_array_vtvmim_c10_r10.add(gdstk.Reference(c_rectangle_gdsfactorypcom___________, (5.64,1.88)))
via_array_vtvmim_c10_r10.add(gdstk.Reference(c_rectangle_gdsfactorypcom___________, (6.58,1.88)))
via_array_vtvmim_c10_r10.add(gdstk.Reference(c_rectangle_gdsfactorypcom___________, (7.52,1.88)))
via_array_vtvmim_c10_r10.add(gdstk.Reference(c_rectangle_gdsfactorypcom___________, (8.46,1.88)))
via_array_vtvmim_c10_r10.add(gdstk.Reference(c_rectangle_gdsfactorypcom___________, (0,2.82)))
via_array_vtvmim_c10_r10.add(gdstk.Reference(c_rectangle_gdsfactorypcom___________, (0.94,2.82)))
via_array_vtvmim_c10_r10.add(gdstk.Reference(c_rectangle_gdsfactorypcom___________, (1.88,2.82)))
via_array_vtvmim_c10_r10.add(gdstk.Reference(c_rectangle_gdsfactorypcom___________, (2.82,2.82)))
via_array_vtvmim_c10_r10.add(gdstk.Reference(c_rectangle_gdsfactorypcom___________, (3.76,2.82)))
via_array_vtvmim_c10_r10.add(gdstk.Reference(c_rectangle_gdsfactorypcom___________, (4.7,2.82)))
via_array_vtvmim_c10_r10.add(gdstk.Reference(c_rectangle_gdsfactorypcom___________, (5.64,2.82)))
via_array_vtvmim_c10_r10.add(gdstk.Reference(c_rectangle_gdsfactorypcom___________, (6.58,2.82)))
via_array_vtvmim_c10_r10.add(gdstk.Reference(c_rectangle_gdsfactorypcom___________, (7.52,2.82)))
via_array_vtvmim_c10_r10.add(gdstk.Reference(c_rectangle_gdsfactorypcom___________, (8.46,2.82)))
via_array_vtvmim_c10_r10.add(gdstk.Reference(c_rectangle_gdsfactorypcom___________, (0,3.76)))
via_array_vtvmim_c10_r10.add(gdstk.Reference(c_rectangle_gdsfactorypcom___________, (0.94,3.76)))
via_array_vtvmim_c10_r10.add(gdstk.Reference(c_rectangle_gdsfactorypcom___________, (1.88,3.76)))
via_array_vtvmim_c10_r10.add(gdstk.Reference(c_rectangle_gdsfactorypcom___________, (2.82,3.76)))
via_array_vtvmim_c10_r10.add(gdstk.Reference(c_rectangle_gdsfactorypcom___________, (3.76,3.76)))
via_array_vtvmim_c10_r10.add(gdstk.Reference(c_rectangle_gdsfactorypcom___________, (4.7,3.76)))
via_array_vtvmim_c10_r10.add(gdstk.Reference(c_rectangle_gdsfactorypcom___________, (5.64,3.76)))
via_array_vtvmim_c10_r10.add(gdstk.Reference(c_rectangle_gdsfactorypcom___________, (6.58,3.76)))
via_array_vtvmim_c10_r10.add(gdstk.Reference(c_rectangle_gdsfactorypcom___________, (7.52,3.76)))
via_array_vtvmim_c10_r10.add(gdstk.Reference(c_rectangle_gdsfactorypcom___________, (8.46,3.76)))
via_array_vtvmim_c10_r10.add(gdstk.Reference(c_rectangle_gdsfactorypcom___________, (0,4.7)))
via_array_vtvmim_c10_r10.add(gdstk.Reference(c_rectangle_gdsfactorypcom___________, (0.94,4.7)))
via_array_vtvmim_c10_r10.add(gdstk.Reference(c_rectangle_gdsfactorypcom___________, (1.88,4.7)))
via_array_vtvmim_c10_r10.add(gdstk.Reference(c_rectangle_gdsfactorypcom___________, (2.82,4.7)))
via_array_vtvmim_c10_r10.add(gdstk.Reference(c_rectangle_gdsfactorypcom___________, (3.76,4.7)))
via_array_vtvmim_c10_r10.add(gdstk.Reference(c_rectangle_gdsfactorypcom___________, (4.7,4.7)))
via_array_vtvmim_c10_r10.add(gdstk.Reference(c_rectangle_gdsfactorypcom___________, (5.64,4.7)))
via_array_vtvmim_c10_r10.add(gdstk.Reference(c_rectangle_gdsfactorypcom___________, (6.58,4.7)))
via_array_vtvmim_c10_r10.add(gdstk.Reference(c_rectangle_gdsfactorypcom___________, (7.52,4.7)))
via_array_vtvmim_c10_r10.add(gdstk.Reference(c_rectangle_gdsfactorypcom___________, (8.46,4.7)))
via_array_vtvmim_c10_r10.add(gdstk.Reference(c_rectangle_gdsfactorypcom___________, (0,5.64)))
via_array_vtvmim_c10_r10.add(gdstk.Reference(c_rectangle_gdsfactorypcom___________, (0.94,5.64)))
via_array_vtvmim_c10_r10.add(gdstk.Reference(c_rectangle_gdsfactorypcom___________, (1.88,5.64)))
via_array_vtvmim_c10_r10.add(gdstk.Reference(c_rectangle_gdsfactorypcom___________, (2.82,5.64)))
via_array_vtvmim_c10_r10.add(gdstk.Reference(c_rectangle_gdsfactorypcom___________, (3.76,5.64)))
via_array_vtvmim_c10_r10.add(gdstk.Reference(c_rectangle_gdsfactorypcom___________, (4.7,5.64)))
via_array_vtvmim_c10_r10.add(gdstk.Reference(c_rectangle_gdsfactorypcom___________, (5.64,5.64)))
via_array_vtvmim_c10_r10.add(gdstk.Reference(c_rectangle_gdsfactorypcom___________, (6.58,5.64)))
via_array_vtvmim_c10_r10.add(gdstk.Reference(c_rectangle_gdsfactorypcom___________, (7.52,5.64)))
via_array_vtvmim_c10_r10.add(gdstk.Reference(c_rectangle_gdsfactorypcom___________, (8.46,5.64)))
via_array_vtvmim_c10_r10.add(gdstk.Reference(c_rectangle_gdsfactorypcom___________, (0,6.58)))
via_array_vtvmim_c10_r10.add(gdstk.Reference(c_rectangle_gdsfactorypcom___________, (0.94,6.58)))
via_array_vtvmim_c10_r10.add(gdstk.Reference(c_rectangle_gdsfactorypcom___________, (1.88,6.58)))
via_array_vtvmim_c10_r10.add(gdstk.Reference(c_rectangle_gdsfactorypcom___________, (2.82,6.58)))
via_array_vtvmim_c10_r10.add(gdstk.Reference(c_rectangle_gdsfactorypcom___________, (3.76,6.58)))
via_array_vtvmim_c10_r10.add(gdstk.Reference(c_rectangle_gdsfactorypcom___________, (4.7,6.58)))
via_array_vtvmim_c10_r10.add(gdstk.Reference(c_rectangle_gdsfactorypcom___________, (5.64,6.58)))
via_array_vtvmim_c10_r10.add(gdstk.Reference(c_rectangle_gdsfactorypcom___________, (6.58,6.58)))
via_array_vtvmim_c10_r10.add(gdstk.Reference(c_rectangle_gdsfactorypcom___________, (7.52,6.58)))
via_array_vtvmim_c10_r10.add(gdstk.Reference(c_rectangle_gdsfactorypcom___________, (8.46,6.58)))
via_array_vtvmim_c10_r10.add(gdstk.Reference(c_rectangle_gdsfactorypcom___________, (0,7.52)))
via_array_vtvmim_c10_r10.add(gdstk.Reference(c_rectangle_gdsfactorypcom___________, (0.94,7.52)))
via_array_vtvmim_c10_r10.add(gdstk.Reference(c_rectangle_gdsfactorypcom___________, (1.88,7.52)))
via_array_vtvmim_c10_r10.add(gdstk.Reference(c_rectangle_gdsfactorypcom___________, (2.82,7.52)))
via_array_vtvmim_c10_r10.add(gdstk.Reference(c_rectangle_gdsfactorypcom___________, (3.76,7.52)))
via_array_vtvmim_c10_r10.add(gdstk.Reference(c_rectangle_gdsfactorypcom___________, (4.7,7.52)))
via_array_vtvmim_c10_r10.add(gdstk.Reference(c_rectangle_gdsfactorypcom___________, (5.64,7.52)))
via_array_vtvmim_c10_r10.add(gdstk.Reference(c_rectangle_gdsfactorypcom___________, (6.58,7.52)))
via_array_vtvmim_c10_r10.add(gdstk.Reference(c_rectangle_gdsfactorypcom___________, (7.52,7.52)))
via_array_vtvmim_c10_r10.add(gdstk.Reference(c_rectangle_gdsfactorypcom___________, (8.46,7.52)))
via_array_vtvmim_c10_r10.add(gdstk.Reference(c_rectangle_gdsfactorypcom___________, (0,8.46)))
via_array_vtvmim_c10_r10.add(gdstk.Reference(c_rectangle_gdsfactorypcom___________, (0.94,8.46)))
via_array_vtvmim_c10_r10.add(gdstk.Reference(c_rectangle_gdsfactorypcom___________, (1.88,8.46)))
via_array_vtvmim_c10_r10.add(gdstk.Reference(c_rectangle_gdsfactorypcom___________, (2.82,8.46)))
via_array_vtvmim_c10_r10.add(gdstk.Reference(c_rectangle_gdsfactorypcom___________, (3.76,8.46)))
via_array_vtvmim_c10_r10.add(gdstk.Reference(c_rectangle_gdsfactorypcom___________, (4.7,8.46)))
via_array_vtvmim_c10_r10.add(gdstk.Reference(c_rectangle_gdsfactorypcom___________, (5.64,8.46)))
via_array_vtvmim_c10_r10.add(gdstk.Reference(c_rectangle_gdsfactorypcom___________, (6.58,8.46)))
via_array_vtvmim_c10_r10.add(gdstk.Reference(c_rectangle_gdsfactorypcom___________, (7.52,8.46)))
via_array_vtvmim_c10_r10.add(gdstk.Reference(c_rectangle_gdsfactorypcom___________, (8.46,8.46)))

c_rectangle_gdsfactorypcom____________ = lib.new_cell('rectangle_gdsfactorypcomponentspshapesprectangle_S11p92_316b73f6')
R(c_rectangle_gdsfactorypcom____________, MemCapdrawing, [(-5.96,-5.96,5.96,5.96)])

c_rectangle_gdsfactorypcom_____________ = lib.new_cell('rectangle_gdsfactorypcomponentspshapesprectangle_S11p92_3e735432')
R(c_rectangle_gdsfactorypcom_____________, TopMetal2nofill, [(-5.96,-5.96,5.96,5.96)])

c_rectangle_gdsfactorypcom______________ = lib.new_cell('rectangle_gdsfactorypcomponentspshapesprectangle_S10_10_ef94ac30')
R(c_rectangle_gdsfactorypcom______________, TopMetal1drawing, [(-5,-5,5,5)])

c_rectangle_gdsfactorypcom_______________ = lib.new_cell('rectangle_gdsfactorypcomponentspshapesprectangle_S11p92_81cf13d4')
R(c_rectangle_gdsfactorypcom_______________, TopMetal1nofill, [(-5.96,-5.96,5.96,5.96)])

c_rectangle_gdsfactorypcom________________ = lib.new_cell('rectangle_gdsfactorypcomponentspshapesprectangle_S11p92_ff69e054')
R(c_rectangle_gdsfactorypcom________________, Metal5nofill, [(-5.96,-5.96,5.96,5.96)])

c_rectangle_gdsfactorypcom_________________ = lib.new_cell('rectangle_gdsfactorypcomponentspshapesprectangle_S10p72_f76ae31b')
R(c_rectangle_gdsfactorypcom_________________, MIMdrawing, [(-5.36,-5.36,5.36,5.36)])

c_rectangle_gdsfactorypcom__________________ = lib.new_cell('rectangle_gdsfactorypcomponentspshapesprectangle_S11p92_2d7918b4')
R(c_rectangle_gdsfactorypcom__________________, Metal4nofill, [(-5.96,-5.96,5.96,5.96)])

c_rectangle_gdsfactorypcom___________________ = lib.new_cell('rectangle_gdsfactorypcomponentspshapesprectangle_S11p92_59dd5848')
R(c_rectangle_gdsfactorypcom___________________, Metal5drawing, [(-5.96,-5.96,5.96,5.96)])

cmim_w10_l10_lmmetal5dra = lib.new_cell('cmim_W10_L10_LMMetal5drawing_LMMIMdrawing_LVVmimdrawing_efbfa039')
cmim_w10_l10_lmmetal5dra.add(gdstk.Reference(c_rectangle_gdsfactorypcom_________, (4.5,0)))
cmim_w10_l10_lmmetal5dra.add(gdstk.Reference(c_rectangle_gdsfactorypcom__________, (-5.46,0)))
cmim_w10_l10_lmmetal5dra.add(gdstk.Reference(via_array_vtvmim_c10_r10, (-4.44,-4.44)))
cmim_w10_l10_lmmetal5dra.add(gdstk.Reference(c_rectangle_gdsfactorypcom____________, (0,0)))
cmim_w10_l10_lmmetal5dra.add(gdstk.Reference(c_rectangle_gdsfactorypcom_____________, (0,0)))
cmim_w10_l10_lmmetal5dra.add(gdstk.Reference(c_rectangle_gdsfactorypcom______________, (0,0)))
cmim_w10_l10_lmmetal5dra.add(gdstk.Reference(c_rectangle_gdsfactorypcom_______________, (0,0)))
cmim_w10_l10_lmmetal5dra.add(gdstk.Reference(c_rectangle_gdsfactorypcom________________, (0,0)))
cmim_w10_l10_lmmetal5dra.add(gdstk.Reference(c_rectangle_gdsfactorypcom_________________, (0,0)))
cmim_w10_l10_lmmetal5dra.add(gdstk.Reference(c_rectangle_gdsfactorypcom__________________, (0,0)))
cmim_w10_l10_lmmetal5dra.add(gdstk.Reference(c_rectangle_gdsfactorypcom___________________, (0,0)))
cmim_w10_l10_lmmetal5dra.add(gdstk.Label('C = 151.90174999999996 fF', (0,-5), layer=63, texttype=0))
cmim_w10_l10_lmmetal5dra.add(gdstk.Label('rfcmim', (0,5), layer=63, texttype=0))
cmim_w10_l10_lmmetal5dra.add(gdstk.Label('MINUS', (-5.86,0), layer=63, texttype=0))
cmim_w10_l10_lmmetal5dra.add(gdstk.Label('PLUS', (4.5,0), layer=63, texttype=0))

rfcmim_w10_l10_lppwellbl = lib.new_cell('rfcmim_W10_L10_LPPWellblock_LMMetal5drawing_LMMIMdrawin_6bbc81a0')
P(rfcmim_w10_l10_lppwellbl, Metal1pin, [(0,-10.96),(0,-9.96),(0.1,-9.96),(0.1,-10.71),(0.859,-9.96),(0,-9.96),(0,-8.96),(1,-9.96)])
P(rfcmim_w10_l10_lppwellbl, Metal5pin, [(-5.86,-0.1),(-5.96,0),(-5.885,0.075),(-5.87,0.075),(-5.946,0),(-5.87,0),(-5.87,0.075),(-5.885,0.075),(-5.86,0.1)])
P(rfcmim_w10_l10_lppwellbl, TopMetal1pin, [(4.5,-0.5),(4.5,0),(4.55,0),(4.55,-0.375),(4.93,0),(4.5,0),(4.5,0.5),(5,0)])
rfcmim_w10_l10_lppwellbl.add(gdstk.Reference(rectangle_gdsfactorypcom, (0,-9.96)))
rfcmim_w10_l10_lppwellbl.add(gdstk.Reference(c_rectangle_gdsfactorypcom, (0,0)))
rfcmim_w10_l10_lppwellbl.add(gdstk.Reference(c_rectangle_gdsfactorypcom_, (0,0)))
rfcmim_w10_l10_lppwellbl.add(gdstk.Reference(c_rectangle_gdsfactorypcom__, (0,0)))
rfcmim_w10_l10_lppwellbl.add(gdstk.Reference(c_rectangle_gdsfactorypcom___, (0,0)))
rfcmim_w10_l10_lppwellbl.add(gdstk.Reference(c_rectangle_gdsfactorypcom____, (0,0)))
rfcmim_w10_l10_lppwellbl.add(gdstk.Reference(c_rectangle_gdsfactorypcom_____, (0,0)))
rfcmim_w10_l10_lppwellbl.add(gdstk.Reference(c_rectangle_gdsfactorypcom______, (0,0)))
rfcmim_w10_l10_lppwellbl.add(gdstk.Reference(guard_ring_w2_g0p6_gpsub, (0,0)))
rfcmim_w10_l10_lppwellbl.add(gdstk.Reference(c_rectangle_gdsfactorypcom________, (0,0)))
rfcmim_w10_l10_lppwellbl.add(gdstk.Reference(cmim_w10_l10_lmmetal5dra, (0,0)))
rfcmim_w10_l10_lppwellbl.add(gdstk.Label('TIE_LOW', (0,-9.96), layer=8, texttype=1))
rfcmim_w10_l10_lppwellbl.add(gdstk.Label('TIE_LOW', (0,-9.96), layer=8, texttype=2))
rfcmim_w10_l10_lppwellbl.add(gdstk.Label('MINUS', (-5.86,0), layer=67, texttype=2))
rfcmim_w10_l10_lppwellbl.add(gdstk.Label('TIE_LOW', (0,-9.96), layer=63, texttype=0))
rfcmim_w10_l10_lppwellbl.add(gdstk.Label('PLUS', (4.5,0), layer=126, texttype=2))

lib.write_gds('rfcmim_W10_L10_LPPWellblock_LMMetal5drawing_LMMIMdrawin_6bbc81a0.gds')
